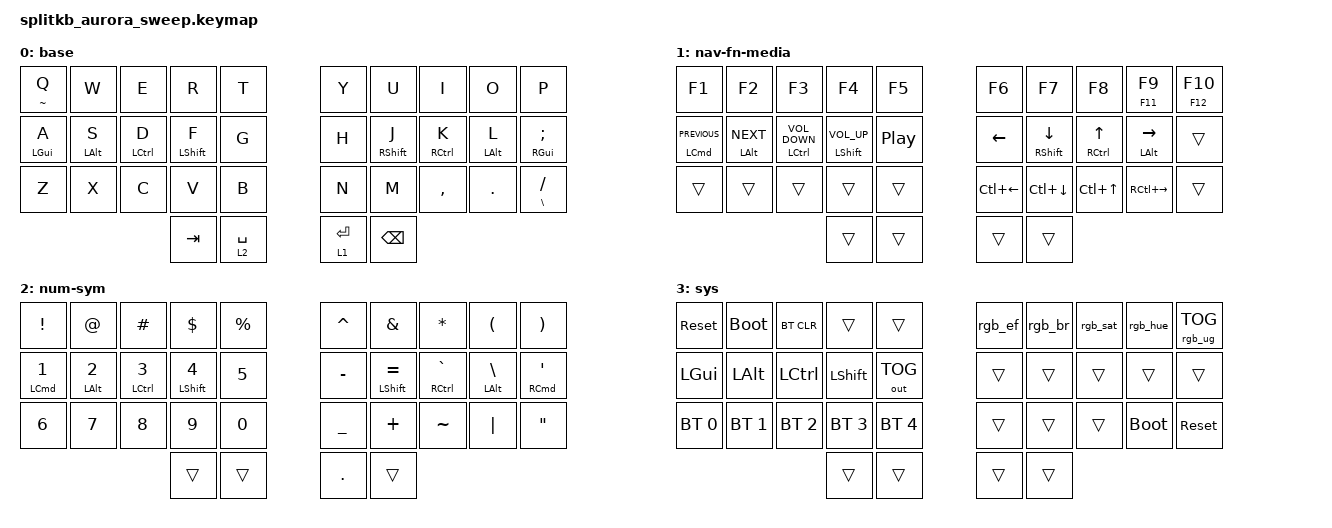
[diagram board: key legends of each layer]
/*
 * Copyright (c) 2022 The ZMK Contributors
 *
 * SPDX-License-Identifier: MIT
 */

#include <behaviors.dtsi>
#include <dt-bindings/zmk/bt.h>
#include <dt-bindings/zmk/keys.h>
#include <dt-bindings/zmk/outputs.h>
#include <dt-bindings/zmk/rgb.h>

&led_strip {
    // chain-length = <6>;

    chain-length = <24>; // Uncomment if using both per-key and underglow LEDs
    // chain-length = <25>; // Uncomment if using only per-key LEDs.
};

&mt {
    //  flavor = "tap-preferred";
    // tapping-term-ms = <200>;
};

/ {
    combos {
        compatible = "zmk,combos";

        l-br {
            bindings = <&kp LEFT_BRACKET>;
            key-positions = <3 4>;
        };

        r-br {
            bindings = <&kp RIGHT_BRACKET>;
            key-positions = <5 6>;
        };

        l-par {
            bindings = <&kp LEFT_PARENTHESIS>;
            key-positions = <13 14>;
        };

        r-par {
            bindings = <&kp RIGHT_PARENTHESIS>;
            key-positions = <15 16>;
        };

        l-brc {
            bindings = <&kp LEFT_BRACE>;
            key-positions = <23 24>;
        };

        r-brc {
            bindings = <&kp RIGHT_BRACE>;
            key-positions = <25 26>;
        };

        del {
            bindings = <&lt 0 DEL>;
            key-positions = <32 33>;
        };

        studio {
            bindings = <&studio_unlock>;
            key-positions = <30 31 32 33>;
        };

        esc {
            bindings = <&kp ESCAPE>;
            key-positions = <30 31>;
        };
    };

    behaviors {
        rgb_ef: rgb_ef {
            compatible = "zmk,behavior-mod-morph";
            label = "RGB_EF";
            bindings = <&rgb_ug RGB_EFF>, <&rgb_ug RGB_EFR>;

            #binding-cells = <0>;
            mods = <(MOD_LSFT|MOD_RSFT)>;
        };

        rgb_br: rgb_br {
            compatible = "zmk,behavior-mod-morph";
            label = "RGB_BR";
            bindings = <&rgb_ug RGB_BRI>, <&rgb_ug RGB_BRD>;

            #binding-cells = <0>;
            mods = <(MOD_LSFT|MOD_RSFT)>;
        };

        rgb_sat: rgb_sat {
            compatible = "zmk,behavior-mod-morph";
            label = "RGB_SAT";
            bindings = <&rgb_ug RGB_SAI>, <&rgb_ug RGB_SAD>;

            #binding-cells = <0>;
            mods = <(MOD_LSFT|MOD_RSFT)>;
        };

        rgb_hue: rgb_hue {
            compatible = "zmk,behavior-mod-morph";
            label = "RGB_HUE";
            bindings = <&rgb_ug RGB_HUI>, <&rgb_ug RGB_HUD>;

            #binding-cells = <0>;
            mods = <(MOD_LSFT|MOD_RSFT)>;
        };

        hrm: hrm {
            compatible = "zmk,behavior-hold-tap";
            label = "HRM";
            bindings = <&kp>, <&kp>;

            #binding-cells = <2>;
            tapping-term-ms = <250>;
            flavor = "tap-preferred";
        };

        quote_and_qwerty: quote_and_qwerty {
            compatible = "zmk,behavior-tap-dance";
            label = "QUOTE_AND_QWERTY";
            #binding-cells = <0>;
            bindings = <&kp SQT>, <&tog 0>;
        };
    };

    keymap {
        compatible = "zmk,keymap";

        base {
            bindings = <
&mt TILDE Q  &kp W        &kp E         &kp R         &kp T    &kp Y  &kp U         &kp I         &kp O        &kp P
&hrm LGUI A  &hrm LALT S  &hrm LCTRL D  &hrm LSHFT F  &kp G    &kp H  &hrm RSHFT J  &hrm RCTRL K  &hrm LALT L  &hrm RGUI SEMI
&kp Z        &kp X        &kp C         &kp V         &kp B    &kp N  &kp M         &kp COMMA     &kp DOT      &mt BACKSLASH FSLH
&kp TAB      &lt 2 SPACE                                                                          &lt 1 ENTER  &kp BACKSPACE
            >;

            label = "base";
        };

        nav-fn-media {
            bindings = <
&kp F1                &kp F2            &kp F3                    &kp F4                   &kp F5      &kp F6        &kp F7           &kp F8               &mt F11 F9       &mt F12 F10
&hrm LCMD C_PREVIOUS  &hrm LALT C_NEXT  &hrm LCTRL C_VOLUME_DOWN  &hrm LSHIFT C_VOLUME_UP  &kp C_PP    &kp LEFT      &hrm RSHFT DOWN  &hrm RCTRL UP_ARROW  &hrm LALT RIGHT  &trans
&trans                &trans            &trans                    &trans                   &trans      &kp LC(LEFT)  &kp LC(DOWN)     &kp LC(UP)           &kp RC(RIGHT)    &trans
&trans                &trans                                                                                                                               &trans           &trans
            >;

            label = "nav-fn-media";
        };

        num-sym {
            bindings = <
&kp EXCL      &kp AT        &kp HASH       &kp DOLLAR      &kp PERCENT    &kp CARET  &kp AMPS           &kp STAR          &kp LPAR             &kp RPAR
&hrm LCMD N1  &hrm LALT N2  &hrm LCTRL N3  &hrm LSHIFT N4  &kp N5         &kp MINUS  &hrm LSHIFT EQUAL  &hrm RCTRL GRAVE  &hrm LALT BACKSLASH  &hrm RCMD SINGLE_QUOTE
&kp N6        &kp N7        &kp N8         &kp N9          &kp N0         &kp UNDER  &kp PLUS           &kp TILDE         &kp PIPE             &kp DOUBLE_QUOTES
&trans        &trans                                                                                                      &kp DOT              &trans
            >;

            label = "num-sym";
        };

        sys {
            bindings = <
&sys_reset    &bootloader   &bt BT_CLR    &trans        &trans          &rgb_ef  &rgb_br  &rgb_sat  &rgb_hue     &rgb_ug RGB_TOG
&kp LGUI      &kp LALT      &kp LCTRL     &kp LSHFT     &out OUT_TOG    &trans   &trans   &trans    &trans       &trans
&bt BT_SEL 0  &bt BT_SEL 1  &bt BT_SEL 2  &bt BT_SEL 3  &bt BT_SEL 4    &trans   &trans   &trans    &bootloader  &sys_reset
&trans        &trans                                                                                &trans       &trans
            >;

            label = "sys";
        };
    };

    conditional_layers {
        compatible = "zmk,conditional-layers";

        sys {
            if-layers = <1 2>;
            then-layer = <3>;
        };
    };
};
